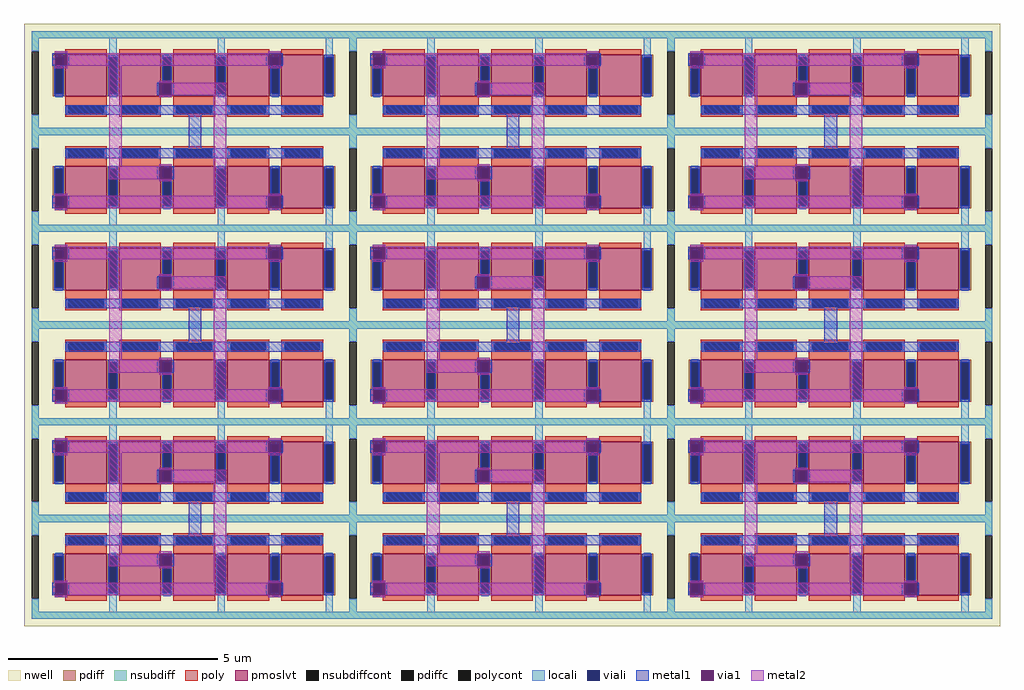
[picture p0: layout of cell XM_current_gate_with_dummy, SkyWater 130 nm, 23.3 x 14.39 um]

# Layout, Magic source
magic
tech sky130A
use XM_current_gate  XM_current_gate_0
transform 1 0 53 0 1 284
box -53 -284 759 231
use XM_current_gate  XM_current_gate_1
transform 1 0 812 0 1 284
box -53 -284 759 231
use XM_current_gate  XM_current_gate_2
transform 1 0 1571 0 1 284
box -53 -284 759 231
use XM_current_gate  XM_current_gate_3
transform 1 0 53 0 1 746
box -53 -284 759 231
use XM_current_gate  XM_current_gate_4
transform 1 0 812 0 1 746
box -53 -284 759 231
use XM_current_gate  XM_current_gate_5
transform 1 0 1571 0 1 746
box -53 -284 759 231
use XM_current_gate  XM_current_gate_6
transform 1 0 53 0 1 -178
box -53 -284 759 231
use XM_current_gate  XM_current_gate_7
transform 1 0 812 0 1 -178
box -53 -284 759 231
use XM_current_gate  XM_current_gate_8
transform 1 0 1571 0 1 -178
box -53 -284 759 231
<< end >>

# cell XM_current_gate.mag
magic
tech sky130A
magscale 1 2
<< locali >>
rect 302 316 336 394
rect 818 316 852 394
rect 1334 316 1368 394
rect 302 -500 336 -422
rect 818 -500 852 -422
rect 1334 -500 1368 -422
<< metal1 >>
rect 30 260 40 320
rect 100 260 110 320
rect 1050 260 1060 320
rect 1120 260 1130 320
rect 530 120 540 180
rect 600 120 610 180
rect 94 27 1318 73
rect 680 -133 740 27
rect 94 -180 1318 -133
rect 530 -280 540 -220
rect 600 -280 610 -220
rect 30 -420 40 -360
rect 100 -420 110 -360
rect 1050 -420 1060 -360
rect 1120 -420 1130 -360
<< via1 >>
rect 40 260 100 320
rect 1060 260 1120 320
rect 540 120 600 180
rect 540 -280 600 -220
rect 40 -420 100 -360
rect 1060 -420 1120 -360
<< metal2 >>
rect 40 320 100 330
rect 1060 320 1120 330
rect 100 260 1060 320
rect 40 250 100 260
rect 300 -220 360 260
rect 1060 250 1120 260
rect 540 180 600 190
rect 600 120 860 180
rect 540 110 600 120
rect 540 -220 600 -210
rect 300 -280 540 -220
rect 540 -290 600 -280
rect 40 -360 100 -350
rect 800 -360 860 120
rect 1060 -360 1120 -350
rect 100 -420 1060 -360
rect 40 -430 100 -420
rect 1060 -430 1120 -420
use sky130_fd_pr__pfet_01v8_lvt_MUVY4U  sky130_fd_pr__pfet_01v8_lvt_MUVY4U_0
transform 1 0 706 0 1 178
box -812 -284 812 284
use sky130_fd_pr__pfet_01v8_lvt_Q24T46  sky130_fd_pr__pfet_01v8_lvt_Q24T46_0
transform 1 0 706 0 1 -284
box -812 -284 812 284
<< end >>

# cell sky130_fd_pr__pfet_01v8_lvt_MUVY4U: kit device sky130_fd_pr__pfet_01v8_lvt, w 1 l 1 m 1 nf 5 diffcov 100 polycov 100 guard 1 glc 1 grc 1 gtc 0 gbc 0 tbcov 100 rlcov 100 topc 0 botc 1 poverlap 0 doverlap 1 lmin 0.35 wmin 0.42 compatible {sky130_fd_pr__pfet_01v8 sky130_fd_pr__pfet_01v8_lvt sky130_fd_pr__pfet_01v8_hvt sky130_fd_pr__pfet_g5v0d10v5} full_metal 1 viasrc 100 viadrn 100 viagate 100 viagb 0 viagr 0 viagl 0 viagt 0

# cell sky130_fd_pr__pfet_01v8_lvt_Q24T46: kit device sky130_fd_pr__pfet_01v8_lvt, w 1 l 1 m 1 nf 5 diffcov 100 polycov 100 guard 1 glc 1 grc 1 gtc 0 gbc 0 tbcov 100 rlcov 100 topc 1 botc 0 poverlap 0 doverlap 1 lmin 0.35 wmin 0.42 compatible {sky130_fd_pr__pfet_01v8 sky130_fd_pr__pfet_01v8_lvt sky130_fd_pr__pfet_01v8_hvt sky130_fd_pr__pfet_g5v0d10v5} full_metal 1 viasrc 100 viadrn 100 viagate 100 viagb 0 viagr 0 viagl 0 viagt 0
